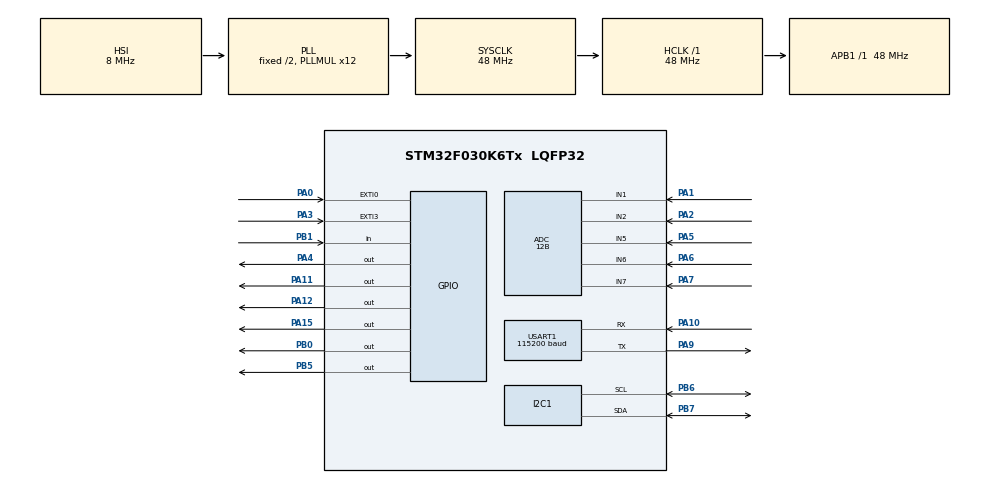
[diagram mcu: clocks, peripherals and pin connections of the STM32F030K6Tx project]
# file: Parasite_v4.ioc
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ADC.ClockPrescaler=ADC_CLOCK_ASYNC_DIV1
ADC.ContinuousConvMode=ENABLE
ADC.DMAContinuousRequests=ENABLE
ADC.DataAlign=ADC_DATAALIGN_RIGHT
ADC.DiscontinuousConvMode=DISABLE
ADC.EOCSelection=ADC_EOC_SEQ_CONV
ADC.EnableAnalogWatchDog=false
ADC.ExternalTrigConv=ADC_SOFTWARE_START
ADC.ExternalTrigConvEdge=ADC_EXTERNALTRIGCONVEDGE_NONE
ADC.LowPowerAutoPowerOff=DISABLE
ADC.LowPowerAutoWait=DISABLE
ADC.Overrun=ADC_OVR_DATA_PRESERVED
ADC.Resolution=ADC_RESOLUTION_12B
ADC.SamplingTime=ADC_SAMPLETIME_13CYCLES_5
ADC.ScanConvMode=ADC_SCAN_DIRECTION_FORWARD
Dma.ADC.0.Direction=DMA_PERIPH_TO_MEMORY
Dma.ADC.0.Instance=DMA1_Channel1
Dma.ADC.0.MemDataAlignment=DMA_MDATAALIGN_HALFWORD
Dma.ADC.0.MemInc=DMA_MINC_ENABLE
Dma.ADC.0.Mode=DMA_CIRCULAR
Dma.ADC.0.PeriphDataAlignment=DMA_PDATAALIGN_HALFWORD
Dma.ADC.0.PeriphInc=DMA_PINC_DISABLE
Dma.ADC.0.Priority=DMA_PRIORITY_LOW
Dma.Request0=ADC
Mcu.Family=STM32F0
Mcu.Name=STM32F030K6Tx
Mcu.Package=LQFP32
NVIC.ADC1_IRQn=true\:0\:0\:false\:false\:true\:true
NVIC.DMA1_Channel1_IRQn=true\:0\:0\:false\:false\:true\:false
NVIC.EXTI0_1_IRQn=true\:0\:0\:false\:true\:true\:1\:true
NVIC.EXTI2_3_IRQn=true\:0\:0\:false\:true\:true\:2\:true
NVIC.I2C1_IRQn=true\:0\:0\:false\:true\:true\:3\:true
NVIC.USART1_IRQn=true\:0\:0\:false\:true\:true\:4\:true
PA0.Signal=GPXTI0
PA1.Mode=IN1
PA1.Signal=ADC_IN1
PA10.Mode=Asynchronous
PA10.Signal=USART1_RX
PA11.Signal=GPIO_Output
PA12.Signal=GPIO_Output
PA13.Mode=Serial_Wire
PA13.Signal=SYS_SWDIO
PA14.Mode=Serial_Wire
PA14.Signal=SYS_SWCLK
PA15.Signal=GPIO_Output
PA2.Mode=IN2
PA2.Signal=ADC_IN2
PA3.Signal=GPXTI3
PA4.Signal=GPIO_Output
PA5.Mode=IN5
PA5.Signal=ADC_IN5
PA6.Mode=IN6
PA6.Signal=ADC_IN6
PA7.Mode=IN7
PA7.Signal=ADC_IN7
PA9.Mode=Asynchronous
PA9.Signal=USART1_TX
PB0.Signal=GPIO_Output
PB1.Signal=GPIO_Input
PB5.Signal=GPIO_Output
PB6.Mode=I2C
PB6.Signal=I2C1_SCL
PB7.Mode=I2C
PB7.Signal=I2C1_SDA
ProjectManager.HeapSize=0x200
ProjectManager.StackSize=0x400
ProjectManager.TargetToolchain=MDK-ARM V5
RCC.AHBFreq_Value=48000000
RCC.APB1Freq_Value=48000000
RCC.APB1TimFreq_Value=48000000
RCC.HCLKFreq_Value=48000000
RCC.PLLMUL=RCC_PLL_MUL12
RCC.SYSCLKFreq_VALUE=48000000
RCC.SYSCLKSource=RCC_SYSCLKSOURCE_PLLCLK
USART1.BaudRate=115200
USART1.VirtualMode-Asynchronous=VM_ASYNC
board=Parasite_v4

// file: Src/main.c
/**
  ******************************************************************************
  * @file           : main.c
  * @brief          : Main program body
  ******************************************************************************
  ** This notice applies to any and all portions of this file
  * that are not between comment pairs USER CODE BEGIN and
  * USER CODE END. Other portions of this file, whether
  * inserted by the user or by software development tools
  * are owned by their respective copyright owners.
  *
  * COPYRIGHT(c) 2019 STMicroelectronics
  *
  * Redistribution and use in source and binary forms, with or without modification,
  * are permitted provided that the following conditions are met:
  *   1. Redistributions of source code must retain the above copyright notice,
  *      this list of conditions and the following disclaimer.
  *   2. Redistributions in binary form must reproduce the above copyright notice,
  *      this list of conditions and the following disclaimer in the documentation
  *      and/or other materials provided with the distribution.
  *   3. Neither the name of STMicroelectronics nor the names of its contributors
  *      may be used to endorse or promote products derived from this software
  *      without specific prior written permission.
  *
  * THIS SOFTWARE IS PROVIDED BY THE COPYRIGHT HOLDERS AND CONTRIBUTORS "AS IS"
  * AND ANY EXPRESS OR IMPLIED WARRANTIES, INCLUDING, BUT NOT LIMITED TO, THE
  * IMPLIED WARRANTIES OF MERCHANTABILITY AND FITNESS FOR A PARTICULAR PURPOSE ARE
  * DISCLAIMED. IN NO EVENT SHALL THE COPYRIGHT HOLDER OR CONTRIBUTORS BE LIABLE
  * FOR ANY DIRECT, INDIRECT, INCIDENTAL, SPECIAL, EXEMPLARY, OR CONSEQUENTIAL
  * DAMAGES (INCLUDING, BUT NOT LIMITED TO, PROCUREMENT OF SUBSTITUTE GOODS OR
  * SERVICES; LOSS OF USE, DATA, OR PROFITS; OR BUSINESS INTERRUPTION) HOWEVER
  * CAUSED AND ON ANY THEORY OF LIABILITY, WHETHER IN CONTRACT, STRICT LIABILITY,
  * OR TORT (INCLUDING NEGLIGENCE OR OTHERWISE) ARISING IN ANY WAY OUT OF THE USE
  * OF THIS SOFTWARE, EVEN IF ADVISED OF THE POSSIBILITY OF SUCH DAMAGE.
  *
  ******************************************************************************
  */
#include "main.h"
#include "stdlib.h"
#include "stm32f0xx_hal.h"
#include "STM32R_SignalMainSwitch.h"
#include "PCF8563.h"
#include "string.h"
#include "LPF.h"
#include "ChargeControl.h"

/* PCBA turn off timer if there is no measurement ongoing for more than this in [ms]. */
#define PCBA_RESET_TIME		120000

typedef enum SystemState_t_
{
	SystemState_SystemInit = 0,

	SystemState_WakeUp,
	SystemState_NormalOperation,
	SystemState_Charging,
	SystemState_ToolOff,
	SystemState_Battery_Low,

} SystemState_t;

ADC_HandleTypeDef hadc;
DMA_HandleTypeDef hdma_adc;
I2C_HandleTypeDef hi2c1;
UART_HandleTypeDef huart1;

static SystemState_t SystemState;
static volatile uint16_t ADC_Results[5];
static volatile uint16_t ADC_Filtered_Results[5];

uint32_t PCBA_Reset_Timer = PCBA_RESET_TIME;
uint8_t PCBA_Timeout = 0;
uint8_t Measure_Ongoing = 0;
uint8_t Switch_Enabled = 0;
uint8_t Switch = 0;
uint16_t LED_Green_Blinking = 0;
uint16_t LED_Red_Blinking = 0;
uint16_t Battery_Low_Blinking = 500;
uint16_t Battery_Low_Blinking_Counter = 3;
uint16_t VBAT_Blanking = 500;
uint16_t PCBA_Reset_Blanking = 50;
uint32_t Tick_Main = 0;
uint8_t Measure_Tick = 0;
uint16_t I2C_Read = 0;
uint16_t UART_Send = 0;
uint16_t Battery_Low_Tick = 0;

LPF32type Battery_Voltage__Filtered;
LPF32type BatteryPack_Current__Filtered;
LPF32type BatteryPack_Voltage__Filtered;
LPF32type BatteryPack_Temperature__Filtered;
LPF32type ChargerVoltage__Filtered;

PCF8563_Write_Buffer_t PCF8563_Write;
PCF8563_Raw_Buffer_t PCF8563;
PCF8563_BCD_Buffer_t PCF8563_BCD;

char date[] = __DATE__;
char time[] = __TIME__;
char UART_Values[75];

extern Charging_t Charging;

void SystemClock_Config(void);
static void MX_GPIO_Init(void);
static void MX_DMA_Init(void);
static void MX_ADC_Init(void);
static void MX_I2C1_Init(void);
static void MX_USART1_UART_Init(void);
static void MX_NVIC_Init(void);

static void WakeUp(void);
static void NormalOperation(void);
static void Measure_Control(void);
static void Shutdown(void);
static void ToolOff(void);
static void SystemUpdateTask(void);
static void BatteryLow(void);

static void I2C_RTC_Read(void);
static void UART_OPENLOG_Send(void);

/* USER CODE BEGIN PFP */
/* Private function prototypes -----------------------------------------------*/

/* USER CODE END PFP */

int main(void)
{
  /* USER CODE BEGIN 1 */

	SystemState = SystemState_SystemInit;

  /* USER CODE END 1 */

  /* MCU Configuration----------------------------------------------------------*/

  /* Reset of all peripherals, Initializes the Flash interface and the Systick. */
  HAL_Init();

  /* Configure the system clock */
  SystemClock_Config();

  /* Initialize all configured peripherals */
  MX_GPIO_Init();
  MX_DMA_Init();
  MX_ADC_Init();
  MX_I2C1_Init();
  MX_USART1_UART_Init();

  /* Initialize interrupts */
  MX_NVIC_Init();
  /* USER CODE BEGIN 2 */

	HAL_ADC_Start_DMA(&hadc, (uint32_t*)ADC_Results, 5);
    LPF32_Init (&Battery_Voltage__Filtered, 0, 3);
	LPF32_Init (&BatteryPack_Current__Filtered, 0, 1);
	LPF32_Init (&BatteryPack_Voltage__Filtered, 0, 1);
	LPF32_Init (&BatteryPack_Temperature__Filtered, 0, 1);
	LPF32_Init (&ChargerVoltage__Filtered, 0, 3);

	BQ_EN_OFF;
	ADC_V_EN_ON;

	Variable_Init();
	SystemState = SystemState_WakeUp;

  /* USER CODE END 2 */

	HAL_Delay(500); 		// delay kondik miatt

  /* Infinite loop */
  /* USER CODE BEGIN WHILE */
  while (1)
  {

	SystemUpdateTask();

  /* USER CODE END WHILE */

  /* USER CODE BEGIN 3 */

	switch(SystemState)
	{
		case SystemState_WakeUp:			WakeUp();				break;
		case SystemState_NormalOperation: 	NormalOperation();		break;
		case SystemState_ToolOff:			ToolOff();				break;
		case SystemState_Battery_Low:		BatteryLow();			break;
		default:							Shutdown();				break;
	}

  }
  /* USER CODE END 3 */

}

void SystemUpdateTask(void)
{
	SMSW_PeriodicUpdate();
	LPF32(&Battery_Voltage__Filtered, Battery_Voltage());
	LPF32(&BatteryPack_Voltage__Filtered, BatteryPack_Voltage());
	LPF32(&BatteryPack_Current__Filtered, BatteryPack_Current());
	LPF32(&BatteryPack_Temperature__Filtered, BatteryPack_Temperature());
	LPF32(&ChargerVoltage__Filtered, ChargerVoltage());

	if (Tick_Main)
	{
		Tick_Main = 0;

		if (Charging.Enabled == 0)
		{
			if (VOLTTODIGIT_CHG(0.2) < ChargerVoltage())
			{
				if (Charging.VCHG_Blanking) Charging.VCHG_Blanking--;
				else
				{
					SHOLD_ON;
					Charging.Enabled = 1;
					Charging.On_Delay = 500;
					Switch = 1;
					SystemState = SystemState_NormalOperation;
				}
			}
			else Charging.VCHG_Blanking = 50;
		}

		if (SystemState != SystemState_Battery_Low)
		{
			if (VOLTTODIGIT_BAT(BATTERY_LOW_VOLTAGE) > Battery_Voltage())
			{
				if (VBAT_Blanking) VBAT_Blanking--;
				else SystemState = SystemState_Battery_Low;
			}
			else VBAT_Blanking = 50;
		}

		if (SystemState != SystemState_WakeUp)
		{
			if (KeepAliveConditions() == 0) SystemState = SystemState_ToolOff;
		}
	}
}

void WakeUp(void)
{
	if (SMSWState() == 1)
	{
		LED_YELLOW_ON;
		SHOLD_ON;
		Mem_Write();
		HAL_I2C_Mem_Write(&hi2c1, PCF8563_ADDRESS, 0x02, I2C_MEMADD_SIZE_8BIT, &PCF8563_Write.RTCData[0], 8, 50);
		SystemState = SystemState_NormalOperation;
	}
}

void Measure_Control(void)
{
	if (Measure_Tick)
	{
		Measure_Tick = 0;

		if (BatteryPack_Current_Filtered_Result() > 250
			&& BatteryPack_Temperature_Filtered_Result() > 100
		&& BatteryPack_Voltage_Filtered_Result() > 12000)	// if > 250 mA and temp is > 100 raw AD and vbat voltage > 12000 mV
		{
			if (PCBA_Reset_Blanking) PCBA_Reset_Blanking--;
			else
			{
				LED_YELLOW_ON;
				PCBA_Reset_Timer = PCBA_RESET_TIME;
				PCBA_Timeout = 0;
			}
		}
		else
		{
			if (PCBA_Reset_Timer) PCBA_Reset_Timer--;
			else
			{
				LED_YELLOW_OFF;
				PCBA_Timeout = 1;
			}
			PCBA_Reset_Blanking = 50;
		}
	}
}

void NormalOperation(void)
{
	Battery_Voltage_Filtered_Result();
	BatteryPack_Current_Filtered_Result();
	BatteryPack_Voltage_Filtered_Result();
	BatteryPack_Temperature_Filtered_Result();
	ChargerVoltage_Filtered_Result();

	Charging_Control();
	Measure_Control();

	if((Switch == 0) && (SMSWState() == 0)) SystemState = SystemState_ToolOff;

	I2C_RTC_Read();
	UART_OPENLOG_Send();
}

void BatteryLow(void)
{
	LED_GREEN_OFF;
	LED_YELLOW_OFF;

	if (Battery_Low_Tick)
	{
		Battery_Low_Tick = 0;

		if(Battery_Low_Blinking) Battery_Low_Blinking--;
		else
		{
			Battery_Low_Blinking = 500;
			if (HAL_GPIO_ReadPin(LED1_GPIO_Port, LED1_Pin) == 1) LED_RED_ON;
			else
			{
				LED_RED_OFF;
				if (--Battery_Low_Blinking_Counter);
				else SystemState = SystemState_ToolOff;
			}
		}
	}
}

void ToolOff(void)
{
	LED_YELLOW_OFF;
	LED_RED_OFF;
	LED_GREEN_OFF;
	ADC_V_EN_OFF;
	BQ_EN_OFF;
	SHOLD_OFF;
	while(1);
}

void Shutdown(void)
{
	;
}

uint8_t KeepAliveConditions(void)
{
	if (PCBA_Timeout == 1 && Charging.Enabled == 0)

	return 0;
	else return 1;
}

void HAL_SYSTICK_Callback(void)
{
	SysTimer_1();
	I2C_Read++;
	UART_Send++;
	Tick_Main++;
	Charging.Tick++;
	Battery_Low_Tick++;
	Measure_Tick++;
}

void I2C_RTC_Read(void)
{
	if(I2C_Read > 1000)
	{
		I2C_Read = 0;
		HAL_I2C_Mem_Read(&hi2c1, PCF8563_ADDRESS, 0x02, I2C_MEMADD_SIZE_8BIT, &PCF8563.RTCData[0], 8, 50);
		Mem_Read();
	}
}

void UART_OPENLOG_Send(void)
{
	if (UART_Send > 50)
	{

	HAL_ADC_Stop_DMA(&hadc);
	UART_Send = 0;

	HAL_UART_Transmit(&huart1, (uint8_t*) UART_Values, 	sprintf(UART_Values, " %d. %0.2d. %0.2d. %0.2d:%0.2d:%0.2d \r",\
						PCF8563_BCD.BCD_Data.Years,\
						PCF8563_BCD.BCD_Data.Century_months,\
						PCF8563_BCD.BCD_Data.Days,\
						PCF8563_BCD.BCD_Data.Hours,\
						PCF8563_BCD.BCD_Data.Minutes,\
						PCF8563_BCD.BCD_Data.VL_seconds), 50);

	HAL_UART_Transmit(&huart1, (uint8_t*) UART_Values, sprintf(UART_Values, " Ibat=%d mA Vpack=%d mV Bat_temp=%d Raw A/D Vbat=%d mV \r",\
						BatteryPack_Current_Filtered_Result(),\
						BatteryPack_Voltage_Filtered_Result(),\
						BatteryPack_Temperature(),\
						Battery_Voltage_Filtered_Result()), 50);

	HAL_ADC_Start_DMA(&hadc, (uint32_t*)ADC_Results, 5);

	}
}

void SystemClock_Config(void)
{

  RCC_OscInitTypeDef RCC_OscInitStruct;
  RCC_ClkInitTypeDef RCC_ClkInitStruct;
  RCC_PeriphCLKInitTypeDef PeriphClkInit;

 /**Initializes the CPU, AHB and APB busses clocks
    */
  RCC_OscInitStruct.OscillatorType = RCC_OSCILLATORTYPE_HSI|RCC_OSCILLATORTYPE_HSI14;
  RCC_OscInitStruct.HSIState = RCC_HSI_ON;
  RCC_OscInitStruct.HSI14State = RCC_HSI14_ON;
  RCC_OscInitStruct.HSICalibrationValue = 16;
  RCC_OscInitStruct.HSI14CalibrationValue = 16;
  RCC_OscInitStruct.PLL.PLLState = RCC_PLL_ON;
  RCC_OscInitStruct.PLL.PLLSource = RCC_PLLSOURCE_HSI;
  RCC_OscInitStruct.PLL.PLLMUL = RCC_PLL_MUL12;
  RCC_OscInitStruct.PLL.PREDIV = RCC_PREDIV_DIV1;
  if (HAL_RCC_OscConfig(&RCC_OscInitStruct) != HAL_OK)
  {
    _Error_Handler(__FILE__, __LINE__);
  }

    /**Initializes the CPU, AHB and APB busses clocks
    */
  RCC_ClkInitStruct.ClockType = RCC_CLOCKTYPE_HCLK|RCC_CLOCKTYPE_SYSCLK
                              |RCC_CLOCKTYPE_PCLK1;
  RCC_ClkInitStruct.SYSCLKSource = RCC_SYSCLKSOURCE_PLLCLK;
  RCC_ClkInitStruct.AHBCLKDivider = RCC_SYSCLK_DIV1;
  RCC_ClkInitStruct.APB1CLKDivider = RCC_HCLK_DIV1;

  if (HAL_RCC_ClockConfig(&RCC_ClkInitStruct, FLASH_LATENCY_1) != HAL_OK)
  {
    _Error_Handler(__FILE__, __LINE__);
  }

  PeriphClkInit.PeriphClockSelection = RCC_PERIPHCLK_USART1|RCC_PERIPHCLK_I2C1;
  PeriphClkInit.Usart1ClockSelection = RCC_USART1CLKSOURCE_PCLK1;
  PeriphClkInit.I2c1ClockSelection = RCC_I2C1CLKSOURCE_HSI;
  if (HAL_RCCEx_PeriphCLKConfig(&PeriphClkInit) != HAL_OK)
  {
    _Error_Handler(__FILE__, __LINE__);
  }

    /**Configure the Systick interrupt time
    */
  HAL_SYSTICK_Config(HAL_RCC_GetHCLKFreq()/1000);

    /**Configure the Systick
    */
  HAL_SYSTICK_CLKSourceConfig(SYSTICK_CLKSOURCE_HCLK);

  /* SysTick_IRQn interrupt configuration */
  HAL_NVIC_SetPriority(SysTick_IRQn, 0, 0);
}

/**
  * @brief NVIC Configuration.
  * @retval None
  */
static void MX_NVIC_Init(void)
{
  /* EXTI0_1_IRQn interrupt configuration */
  HAL_NVIC_SetPriority(EXTI0_1_IRQn, 0, 0);
  HAL_NVIC_EnableIRQ(EXTI0_1_IRQn);
  /* EXTI2_3_IRQn interrupt configuration */
  HAL_NVIC_SetPriority(EXTI2_3_IRQn, 0, 0);
  HAL_NVIC_EnableIRQ(EXTI2_3_IRQn);
  /* I2C1_IRQn interrupt configuration */
  HAL_NVIC_SetPriority(I2C1_IRQn, 0, 0);
  HAL_NVIC_EnableIRQ(I2C1_IRQn);
  /* USART1_IRQn interrupt configuration */
  HAL_NVIC_SetPriority(USART1_IRQn, 0, 0);
  HAL_NVIC_EnableIRQ(USART1_IRQn);
}

/* ADC init function */
static void MX_ADC_Init(void)
{

  ADC_ChannelConfTypeDef sConfig;

    /**Configure the global features of the ADC (Clock, Resolution, Data Alignment and number of conversion)
    */
  hadc.Instance = ADC1;
  hadc.Init.ClockPrescaler = ADC_CLOCK_ASYNC_DIV1;
  hadc.Init.Resolution = ADC_RESOLUTION_12B;
  hadc.Init.DataAlign = ADC_DATAALIGN_RIGHT;
  hadc.Init.ScanConvMode = ADC_SCAN_DIRECTION_FORWARD;
  hadc.Init.EOCSelection = ADC_EOC_SEQ_CONV;
  hadc.Init.LowPowerAutoWait = DISABLE;
  hadc.Init.LowPowerAutoPowerOff = DISABLE;
  hadc.Init.ContinuousConvMode = ENABLE;
  hadc.Init.DiscontinuousConvMode = DISABLE;
  hadc.Init.ExternalTrigConv = ADC_SOFTWARE_START;
  hadc.Init.ExternalTrigConvEdge = ADC_EXTERNALTRIGCONVEDGE_NONE;
  hadc.Init.DMAContinuousRequests = ENABLE;
  hadc.Init.Overrun = ADC_OVR_DATA_PRESERVED;
  if (HAL_ADC_Init(&hadc) != HAL_OK)
  {
    _Error_Handler(__FILE__, __LINE__);
  }

    /**Configure for the selected ADC regular channel to be converted.
    */
  sConfig.Channel = ADC_CHANNEL_1;
  sConfig.Rank = ADC_RANK_CHANNEL_NUMBER;
  sConfig.SamplingTime = ADC_SAMPLETIME_13CYCLES_5;
  if (HAL_ADC_ConfigChannel(&hadc, &sConfig) != HAL_OK)
  {
    _Error_Handler(__FILE__, __LINE__);
  }

    /**Configure for the selected ADC regular channel to be converted.
    */
  sConfig.Channel = ADC_CHANNEL_2;
  if (HAL_ADC_ConfigChannel(&hadc, &sConfig) != HAL_OK)
  {
    _Error_Handler(__FILE__, __LINE__);
  }

    /**Configure for the selected ADC regular channel to be converted.
    */
  sConfig.Channel = ADC_CHANNEL_5;
  if (HAL_ADC_ConfigChannel(&hadc, &sConfig) != HAL_OK)
  {
    _Error_Handler(__FILE__, __LINE__);
  }

    /**Configure for the selected ADC regular channel to be converted.
    */
  sConfig.Channel = ADC_CHANNEL_6;
  if (HAL_ADC_ConfigChannel(&hadc, &sConfig) != HAL_OK)
  {
    _Error_Handler(__FILE__, __LINE__);
  }

    /**Configure for the selected ADC regular channel to be converted.
    */
  sConfig.Channel = ADC_CHANNEL_7;
  if (HAL_ADC_ConfigChannel(&hadc, &sConfig) != HAL_OK)
  {
    _Error_Handler(__FILE__, __LINE__);
  }

}

/* I2C1 init function */
static void MX_I2C1_Init(void)
{

  hi2c1.Instance = I2C1;
  hi2c1.Init.Timing = 0x2000090E;
  hi2c1.Init.OwnAddress1 = 0;
  hi2c1.Init.AddressingMode = I2C_ADDRESSINGMODE_7BIT;
  hi2c1.Init.DualAddressMode = I2C_DUALADDRESS_DISABLE;
  hi2c1.Init.OwnAddress2 = 0;
  hi2c1.Init.OwnAddress2Masks = I2C_OA2_NOMASK;
  hi2c1.Init.GeneralCallMode = I2C_GENERALCALL_DISABLE;
  hi2c1.Init.NoStretchMode = I2C_NOSTRETCH_DISABLE;
  if (HAL_I2C_Init(&hi2c1) != HAL_OK)
  {
    _Error_Handler(__FILE__, __LINE__);
  }

    /**Configure Analogue filter
    */
  if (HAL_I2CEx_ConfigAnalogFilter(&hi2c1, I2C_ANALOGFILTER_ENABLE) != HAL_OK)
  {
    _Error_Handler(__FILE__, __LINE__);
  }

    /**Configure Digital filter
    */
  if (HAL_I2CEx_ConfigDigitalFilter(&hi2c1, 0) != HAL_OK)
  {
    _Error_Handler(__FILE__, __LINE__);
  }

}

/* USART1 init function */
static void MX_USART1_UART_Init(void)
{

  huart1.Instance = USART1;
  huart1.Init.BaudRate = 115200;
  huart1.Init.WordLength = UART_WORDLENGTH_8B;
  huart1.Init.StopBits = UART_STOPBITS_1;
  huart1.Init.Parity = UART_PARITY_NONE;
  huart1.Init.Mode = UART_MODE_TX_RX;
  huart1.Init.HwFlowCtl = UART_HWCONTROL_NONE;
  huart1.Init.OverSampling = UART_OVERSAMPLING_16;
  huart1.Init.OneBitSampling = UART_ONE_BIT_SAMPLE_DISABLE;
  huart1.AdvancedInit.AdvFeatureInit = UART_ADVFEATURE_NO_INIT;
  if (HAL_UART_Init(&huart1) != HAL_OK)
  {
    _Error_Handler(__FILE__, __LINE__);
  }

}

static void MX_DMA_Init(void)
{
  /* DMA controller clock enable */
  __HAL_RCC_DMA1_CLK_ENABLE();

  /* DMA interrupt init */
  /* DMA1_Channel1_IRQn interrupt configuration */
  HAL_NVIC_SetPriority(DMA1_Channel1_IRQn, 0, 0);
  HAL_NVIC_EnableIRQ(DMA1_Channel1_IRQn);

}

/** Configure pins as
        * Analog
        * Input
        * Output
        * EVENT_OUT
        * EXTI
*/
static void MX_GPIO_Init(void)
{

  GPIO_InitTypeDef GPIO_InitStruct;

  /* GPIO Ports Clock Enable */
  __HAL_RCC_GPIOA_CLK_ENABLE();
  __HAL_RCC_GPIOB_CLK_ENABLE();

  /*Configure GPIO pin Output Level */
  HAL_GPIO_WritePin(GPIOA, GPIO_PIN_4|GPIO_PIN_11|GPIO_PIN_12|GPIO_PIN_15, GPIO_PIN_SET);

  /*Configure GPIO pin Output Level */
  HAL_GPIO_WritePin(GPIOB, GPIO_PIN_0|GPIO_PIN_5, GPIO_PIN_RESET);

  /*Configure GPIO pins : PA0 PA3 */
  GPIO_InitStruct.Pin = GPIO_PIN_0|GPIO_PIN_3;
  GPIO_InitStruct.Mode = GPIO_MODE_IT_RISING;
  GPIO_InitStruct.Pull = GPIO_NOPULL;
  HAL_GPIO_Init(GPIOA, &GPIO_InitStruct);

  /*Configure GPIO pins : PA4 PA11 PA12 PA15 */
  GPIO_InitStruct.Pin = GPIO_PIN_4|GPIO_PIN_11|GPIO_PIN_12|GPIO_PIN_15;
  GPIO_InitStruct.Mode = GPIO_MODE_OUTPUT_PP;
  GPIO_InitStruct.Pull = GPIO_NOPULL;
  GPIO_InitStruct.Speed = GPIO_SPEED_FREQ_LOW;
  HAL_GPIO_Init(GPIOA, &GPIO_InitStruct);

  /*Configure GPIO pins : PB0 PB5 */
  GPIO_InitStruct.Pin = GPIO_PIN_0|GPIO_PIN_5;
  GPIO_InitStruct.Mode = GPIO_MODE_OUTPUT_PP;
  GPIO_InitStruct.Pull = GPIO_NOPULL;
  GPIO_InitStruct.Speed = GPIO_SPEED_FREQ_LOW;
  HAL_GPIO_Init(GPIOB, &GPIO_InitStruct);

  /*Configure GPIO pin : PB1 */
  GPIO_InitStruct.Pin = GPIO_PIN_1;
  GPIO_InitStruct.Mode = GPIO_MODE_INPUT;
  GPIO_InitStruct.Pull = GPIO_NOPULL;
  HAL_GPIO_Init(GPIOB, &GPIO_InitStruct);

}

/* USER CODE BEGIN 4 */

uint16_t BatteryPack_Current(void)
{
	return (ADC_Results[0]);
}

uint16_t ChargerVoltage(void)
{
	return (ADC_Results[1]);
}

uint16_t BatteryPack_Voltage(void)
{
	return (ADC_Results[2]);
}

uint16_t BatteryPack_Temperature(void)
{
	return (ADC_Results[3]);
}

uint16_t Battery_Voltage(void)
{
	return (ADC_Results[4]);
}

uint16_t Battery_Voltage_Filtered(void)
{
	return Battery_Voltage__Filtered.X;
}

 uint16_t Battery_Voltage_Filtered_Result(void)
{
	uint16_t Battery_Voltage_Result = (((Battery_Voltage_Filtered()*3300)>>12)*(INV_ADC_BAT_GAIN)); //mV
	return (ADC_Filtered_Results[4] = Battery_Voltage_Result);
}

uint32_t BatteryPack_Current_Filtered(void)
{
	return BatteryPack_Current__Filtered.X;
}

uint32_t BatteryPack_Current_Filtered_Result(void)
{
	uint64_t BatteryPack_Current_Result = (((((BatteryPack_Current_Filtered()*3300)>>12)-770))*(5000*1570))>>18; //mA
	return (ADC_Filtered_Results[0] = BatteryPack_Current_Result);
}

uint16_t BatteryPack_Voltage_Filtered(void)
{
	return BatteryPack_Voltage__Filtered.X;
}
uint16_t BatteryPack_Voltage_Filtered_Result(void)
{
	uint16_t BatteryPack_Voltage_Result = (((BatteryPack_Voltage_Filtered()*3300)>>12)*(INV_ADC_VOLT_GAIN)); //mV
	return (ADC_Filtered_Results[2] = BatteryPack_Voltage_Result);
}

uint16_t BatteryPack_Temperature_Filtered(void)
{
	return BatteryPack_Temperature__Filtered.X;
}

uint16_t BatteryPack_Temperature_Filtered_Result(void)
{
	uint16_t BatteryPack_Temperature_Result = ((BatteryPack_Temperature_Filtered()*3300)>>12); //mV
	return (ADC_Filtered_Results[3] = BatteryPack_Temperature_Result);
}

uint16_t ChargerVoltage_Filtered(void)
{
	return ChargerVoltage__Filtered.X;
}

uint16_t ChargerVoltage_Filtered_Result(void)
{
	uint16_t ChargerVoltage_Result = ((ChargerVoltage_Filtered()*3300)>>13); //mV
	return (ADC_Filtered_Results[1] = ChargerVoltage_Result);
}

/* USER CODE END 4 */

void _Error_Handler(char *file, int line)
{
  while(1)
  {
  }
}

/************************ (C) COPYRIGHT STMicroelectronics *****END OF FILE****/
